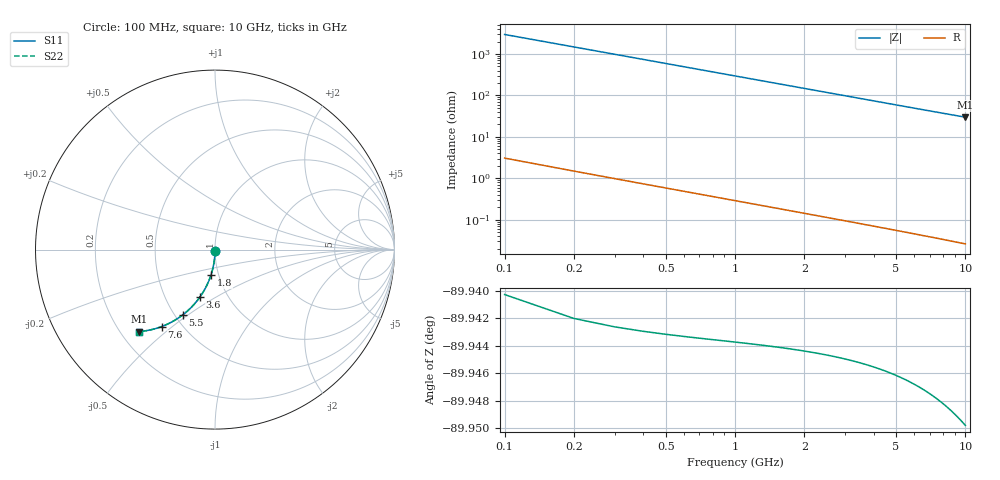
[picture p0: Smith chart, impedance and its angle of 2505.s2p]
# Hz S RI R 50.00
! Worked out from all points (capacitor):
!   100 points, 100 MHz to 10 GHz, reference 50 ohm
!   read as one part in shunt: C = 538 fF near 100 MHz
!   lowest |Z| = 29.9 ohm at 10 GHz (marker M1)
!   S11 on the Smith chart (normalised r, x): 100 MHz: 1.00, -0.02; 1.8 GHz: 0.92, -0.27; 3.6 GHz: 0.74, -0.43; 5.5 GHz: 0.55, -0.48; 7.6 GHz: 0.39, -0.46; 10 GHz: 0.27, -0.41
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1e8  5.15e-05 -0.00808  0.9998 -0.00881  0.9998 -0.00881  5.15e-05 -0.00808
2e8  -0.000169 -0.0162  0.9996 -0.0176  0.9996 -0.0176  -0.000169 -0.0162
3e8  -0.000533 -0.0242  0.9992 -0.0264  0.9992 -0.0264  -0.000533 -0.0242
4e8  -0.00104 -0.0323  0.9987 -0.0352  0.9987 -0.0352  -0.00104 -0.0323
5e8  -0.00169 -0.0403  0.998 -0.044  0.998 -0.044  -0.00169 -0.0403
6e8  -0.00247 -0.0484  0.9972 -0.0527  0.9972 -0.0527  -0.00247 -0.0484
8e8  -0.00447 -0.0644  0.9952 -0.0702  0.9952 -0.0702  -0.00447 -0.0644
1.1e9  -0.00851 -0.0881  0.9912 -0.0962  0.9912 -0.0962  -0.00851 -0.0881
1.4e9  -0.0138 -0.1116  0.9859 -0.1218  0.9859 -0.1218  -0.0138 -0.1116
1.8e9  -0.0226 -0.1422  0.977 -0.1553  0.977 -0.1553  -0.0226 -0.1422
2.1e9  -0.0306 -0.1645  0.969 -0.1798  0.969 -0.1798  -0.0306 -0.1645
2.5e9  -0.0428 -0.1934  0.9567 -0.2116  0.9567 -0.2116  -0.0428 -0.1934
2.9e9  -0.0569 -0.221  0.9426 -0.2422  0.9426 -0.2422  -0.0569 -0.221
3.4e9  -0.0766 -0.2536  0.9228 -0.2784  0.9228 -0.2784  -0.0766 -0.2536
3.6e9  -0.0852 -0.266  0.9142 -0.2923  0.9142 -0.2923  -0.0852 -0.266
4.3e9  -0.1175 -0.3063  0.8817 -0.3378  0.8817 -0.3378  -0.1175 -0.3063
5.1e9  -0.1582 -0.3461  0.8408 -0.3836  0.8408 -0.3836  -0.1582 -0.3461
5.5e9  -0.1796 -0.3636  0.8193 -0.404  0.8193 -0.404  -0.1796 -0.3636
6.7e9  -0.2461 -0.406  0.7523 -0.4554  0.7523 -0.4554  -0.2461 -0.406
7.6e9  -0.2967 -0.4286  0.7014 -0.4848  0.7014 -0.4848  -0.2967 -0.4286
8.4e9  -0.341 -0.4427  0.6568 -0.5051  0.6568 -0.5051  -0.341 -0.4427
1e10  -0.425 -0.4567  0.5719 -0.5314  0.5719 -0.5314  -0.425 -0.4567
